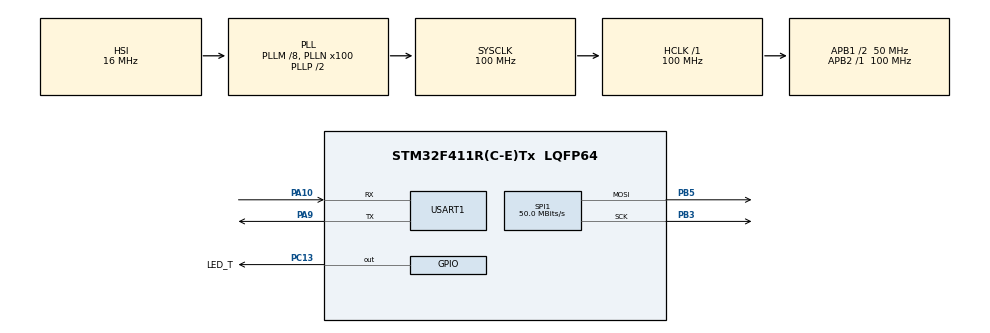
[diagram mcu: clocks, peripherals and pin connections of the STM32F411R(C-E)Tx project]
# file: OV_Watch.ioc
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Dma.Request0=SPI1_TX
Dma.Request1=USART1_RX
Dma.Request2=USART1_TX
Dma.SPI1_TX.0.Direction=DMA_MEMORY_TO_PERIPH
Dma.SPI1_TX.0.FIFOMode=DMA_FIFOMODE_DISABLE
Dma.SPI1_TX.0.Instance=DMA2_Stream2
Dma.SPI1_TX.0.MemDataAlignment=DMA_MDATAALIGN_HALFWORD
Dma.SPI1_TX.0.MemInc=DMA_MINC_ENABLE
Dma.SPI1_TX.0.Mode=DMA_NORMAL
Dma.SPI1_TX.0.PeriphDataAlignment=DMA_PDATAALIGN_HALFWORD
Dma.SPI1_TX.0.PeriphInc=DMA_PINC_DISABLE
Dma.SPI1_TX.0.Priority=DMA_PRIORITY_LOW
Dma.USART1_RX.1.Direction=DMA_PERIPH_TO_MEMORY
Dma.USART1_RX.1.FIFOMode=DMA_FIFOMODE_DISABLE
Dma.USART1_RX.1.Instance=DMA2_Stream5
Dma.USART1_RX.1.MemDataAlignment=DMA_MDATAALIGN_BYTE
Dma.USART1_RX.1.MemInc=DMA_MINC_ENABLE
Dma.USART1_RX.1.Mode=DMA_NORMAL
Dma.USART1_RX.1.PeriphDataAlignment=DMA_PDATAALIGN_BYTE
Dma.USART1_RX.1.PeriphInc=DMA_PINC_DISABLE
Dma.USART1_RX.1.Priority=DMA_PRIORITY_LOW
Dma.USART1_TX.2.Direction=DMA_MEMORY_TO_PERIPH
Dma.USART1_TX.2.FIFOMode=DMA_FIFOMODE_DISABLE
Dma.USART1_TX.2.Instance=DMA2_Stream7
Dma.USART1_TX.2.MemDataAlignment=DMA_MDATAALIGN_BYTE
Dma.USART1_TX.2.MemInc=DMA_MINC_ENABLE
Dma.USART1_TX.2.Mode=DMA_NORMAL
Dma.USART1_TX.2.PeriphDataAlignment=DMA_PDATAALIGN_BYTE
Dma.USART1_TX.2.PeriphInc=DMA_PINC_DISABLE
Dma.USART1_TX.2.Priority=DMA_PRIORITY_LOW
FREERTOS.Tasks01=defaultTask,24,128,StartDefaultTask,Default,NULL,Dynamic,NULL,NULL
FREERTOS.configUSE_IDLE_HOOK=1
FREERTOS.configUSE_TICK_HOOK=1
Mcu.Family=STM32F4
Mcu.Name=STM32F411R(C-E)Tx
Mcu.Package=LQFP64
NVIC.DMA2_Stream2_IRQn=true\:5\:0\:false\:false\:true\:true\:false\:true\:true
NVIC.DMA2_Stream5_IRQn=true\:5\:0\:false\:false\:true\:true\:false\:true\:true
NVIC.DMA2_Stream7_IRQn=true\:5\:0\:false\:false\:true\:true\:false\:true\:true
NVIC.PriorityGroup=NVIC_PRIORITYGROUP_4
NVIC.RTC_WKUP_IRQn=true\:5\:0\:false\:false\:true\:true\:true\:true\:true
NVIC.TIM1_TRG_COM_TIM11_IRQn=true\:15\:0\:false\:false\:true\:false\:false\:true\:true
NVIC.TimeBase=TIM1_TRG_COM_TIM11_IRQn
NVIC.TimeBaseIP=TIM11
NVIC.USART1_IRQn=true\:5\:0\:false\:false\:true\:true\:true\:true\:true
PA10.Mode=Asynchronous
PA10.Signal=USART1_RX
PA9.Mode=Asynchronous
PA9.Signal=USART1_TX
PB3.Mode=TX_Only_Simplex_Unidirect_Master
PB3.Signal=SPI1_SCK
PB5.Mode=TX_Only_Simplex_Unidirect_Master
PB5.Signal=SPI1_MOSI
PC13-ANTI_TAMP.GPIO_Label=LED_T
PC13-ANTI_TAMP.PinState=GPIO_PIN_SET
PC13-ANTI_TAMP.Signal=GPIO_Output
PC14-OSC32_IN.Mode=LSE-External-Oscillator
PC14-OSC32_IN.Signal=RCC_OSC32_IN
PC15-OSC32_OUT.Mode=LSE-External-Oscillator
PC15-OSC32_OUT.Signal=RCC_OSC32_OUT
PH0\ -\ OSC_IN.Mode=HSE-External-Oscillator
PH0\ -\ OSC_IN.Signal=RCC_OSC_IN
PH1\ -\ OSC_OUT.Mode=HSE-External-Oscillator
PH1\ -\ OSC_OUT.Signal=RCC_OSC_OUT
ProjectManager.HeapSize=0x200
ProjectManager.StackSize=0x400
ProjectManager.TargetToolchain=MDK-ARM V5.32
RCC.48MHZClocksFreq_Value=50000000
RCC.AHBFreq_Value=100000000
RCC.APB1CLKDivider=RCC_HCLK_DIV2
RCC.APB1Freq_Value=50000000
RCC.APB1TimFreq_Value=100000000
RCC.APB2Freq_Value=100000000
RCC.APB2TimFreq_Value=100000000
RCC.CortexFreq_Value=100000000
RCC.HCLKFreq_Value=100000000
RCC.HSE_VALUE=25000000
RCC.HSI_VALUE=16000000
RCC.PLLM=8
RCC.PLLN=100
RCC.SYSCLKFreq_VALUE=100000000
RCC.SYSCLKSource=RCC_SYSCLKSOURCE_PLLCLK
RCC.VCOOutputFreq_Value=200000000
RTC.Hours=11
RTC.Minutes=59
RTC.Seconds=50
RTC.WakeUpCounter=2000
RTC.Year=24
SPI1.CLKPhase=SPI_PHASE_2EDGE
SPI1.CLKPolarity=SPI_POLARITY_HIGH
SPI1.CalculateBaudRate=50.0 MBits/s
SPI1.Direction=SPI_DIRECTION_2LINES
SPI1.Mode=SPI_MODE_MASTER
SPI1.VirtualType=VM_MASTER
USART1.VirtualMode=VM_ASYNC
VP_FREERTOS_VS_CMSIS_V2.Mode=CMSIS_V2
VP_RTC_VS_RTC_Activate.Mode=RTC_Enabled
VP_RTC_VS_RTC_WakeUp_intern.Mode=WakeUp
VP_SYS_VS_tim11.Mode=TIM11
board=custom

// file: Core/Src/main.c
/* USER CODE BEGIN Header */
/**
  ******************************************************************************
  * @file           : main.c
  * @brief          : Main program body
  ******************************************************************************
  * @attention
  *
  * Copyright (c) 2024 STMicroelectronics.
  * All rights reserved.
  *
  * This software is licensed under terms that can be found in the LICENSE file
  * in the root directory of this software component.
  * If no LICENSE file comes with this software, it is provided AS-IS.
  *
  ******************************************************************************
  */
/* USER CODE END Header */
#include "main.h"
#include "cmsis_os.h"
#include "dma.h"
#include "rtc.h"
#include "spi.h"
#include "usart.h"
#include "gpio.h"

/* USER CODE BEGIN Includes */
#include "stm32f4xx_it.h"
#include "lcd.h"
#include "lcd_init.h"
#include "CST816.h"
#include "key.h"
//gui
#include "lvgl.h"
#include "lv_port_disp.h"
#include "lv_port_indev.h"
#include "ui.h"
/* USER CODE END Includes */

void SystemClock_Config(void);
void MX_FREERTOS_Init(void);

int main(void)
{

  /* MCU Configuration--------------------------------------------------------*/

  /* Reset of all peripherals, Initializes the Flash interface and the Systick. */
  HAL_Init();

  /* Configure the system clock */
  SystemClock_Config();

  /* Initialize all configured peripherals */
  MX_GPIO_Init();
  MX_DMA_Init();
  MX_SPI1_Init();
  MX_RTC_Init();
  MX_USART1_UART_Init();
  /* USER CODE BEGIN 2 */

  //sys delay
	delay_init();

	//key
	Key_Port_Init();

	//touch
	CST816_GPIO_Init();
	CST816_RESET();

	//lcd
	LCD_Init();
	LCD_Fill(0,0,LCD_W,LCD_H,BLACK);
	delay_ms(10);
	LCD_ShowString(72,LCD_H/2,(uint8_t*)"Welcome!",WHITE,BLACK,24,0);//12*6,16*8,24*12,32*16
	LCD_ShowString(42,LCD_H/2+48,(uint8_t*)"OV-Watch V2.3",WHITE,BLACK,24,0);
	delay_ms(1000);
	LCD_Fill(0,LCD_H/2-24,LCD_W,LCD_H/2+49,BLACK);

  //RTC Wake
	if(HAL_RTCEx_SetWakeUpTimer_IT(&hrtc, 2000, RTC_WAKEUPCLOCK_RTCCLK_DIV16) != HAL_OK)
  {
    Error_Handler();
  }
	//usart start
	HAL_UART_Receive_DMA(&huart1,(uint8_t*)HardInt_receive_str,25);
	__HAL_UART_ENABLE_IT(&huart1,UART_IT_IDLE);

  //LVGL init
	lv_init();
	lv_port_disp_init();
	lv_port_indev_init();
	ui_init();

  /* USER CODE END 2 */

  /* Init scheduler */
  osKernelInitialize();  /* Call init function for freertos objects (in freertos.c) */
  MX_FREERTOS_Init();

  /* Start scheduler */
  osKernelStart();

  /* We should never get here as control is now taken by the scheduler */
  /* Infinite loop */
  while (1)
  {

    /* USER CODE BEGIN 3 */
		HAL_Delay(500);
		HAL_GPIO_TogglePin(GPIOC,GPIO_PIN_13);
  }
  /* USER CODE END 3 */
}

void SystemClock_Config(void)
{
  RCC_OscInitTypeDef RCC_OscInitStruct = {0};
  RCC_ClkInitTypeDef RCC_ClkInitStruct = {0};

  /** Configure the main internal regulator output voltage
  */
  __HAL_RCC_PWR_CLK_ENABLE();
  __HAL_PWR_VOLTAGESCALING_CONFIG(PWR_REGULATOR_VOLTAGE_SCALE1);

  /** Initializes the RCC Oscillators according to the specified parameters
  * in the RCC_OscInitTypeDef structure.
  */
  RCC_OscInitStruct.OscillatorType = RCC_OSCILLATORTYPE_HSI|RCC_OSCILLATORTYPE_LSI;
  RCC_OscInitStruct.HSIState = RCC_HSI_ON;
  RCC_OscInitStruct.HSICalibrationValue = RCC_HSICALIBRATION_DEFAULT;
  RCC_OscInitStruct.LSIState = RCC_LSI_ON;
  RCC_OscInitStruct.PLL.PLLState = RCC_PLL_ON;
  RCC_OscInitStruct.PLL.PLLSource = RCC_PLLSOURCE_HSI;
  RCC_OscInitStruct.PLL.PLLM = 8;
  RCC_OscInitStruct.PLL.PLLN = 100;
  RCC_OscInitStruct.PLL.PLLP = RCC_PLLP_DIV2;
  RCC_OscInitStruct.PLL.PLLQ = 4;
  if (HAL_RCC_OscConfig(&RCC_OscInitStruct) != HAL_OK)
  {
    Error_Handler();
  }

  /** Initializes the CPU, AHB and APB buses clocks
  */
  RCC_ClkInitStruct.ClockType = RCC_CLOCKTYPE_HCLK|RCC_CLOCKTYPE_SYSCLK
                              |RCC_CLOCKTYPE_PCLK1|RCC_CLOCKTYPE_PCLK2;
  RCC_ClkInitStruct.SYSCLKSource = RCC_SYSCLKSOURCE_PLLCLK;
  RCC_ClkInitStruct.AHBCLKDivider = RCC_SYSCLK_DIV1;
  RCC_ClkInitStruct.APB1CLKDivider = RCC_HCLK_DIV2;
  RCC_ClkInitStruct.APB2CLKDivider = RCC_HCLK_DIV1;

  if (HAL_RCC_ClockConfig(&RCC_ClkInitStruct, FLASH_LATENCY_3) != HAL_OK)
  {
    Error_Handler();
  }
}

void HAL_TIM_PeriodElapsedCallback(TIM_HandleTypeDef *htim)
{
  if (htim->Instance == TIM11) {
    HAL_IncTick();
  }
}

void Error_Handler(void)
{
  __disable_irq();
  while (1)
  {
  }
}
